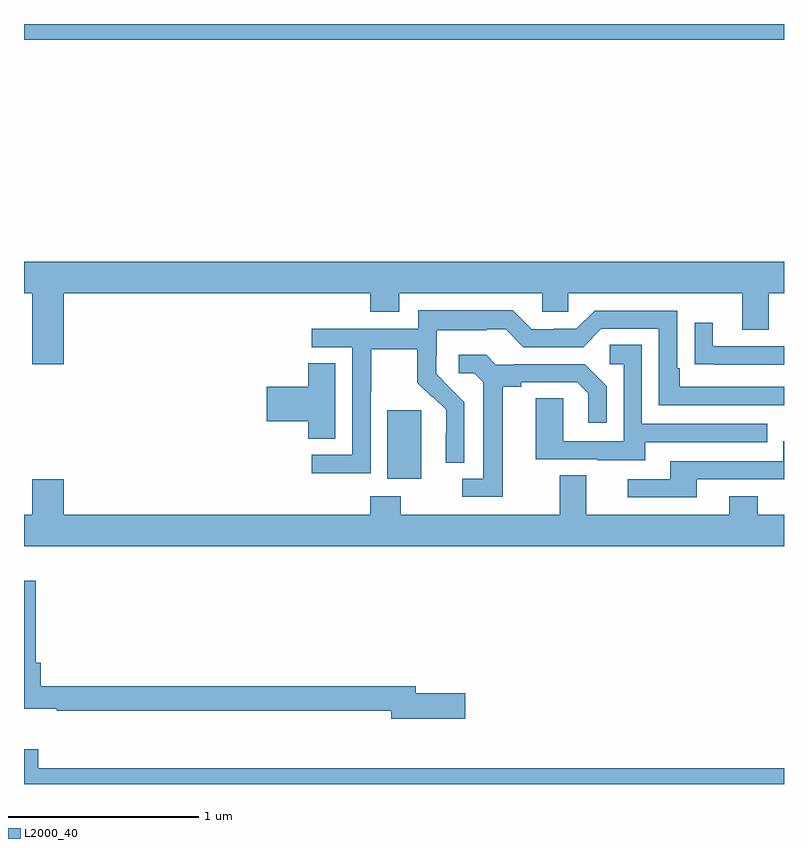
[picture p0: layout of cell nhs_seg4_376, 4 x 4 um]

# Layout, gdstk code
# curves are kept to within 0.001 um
import gdstk
lib = gdstk.Library(unit=1e-6, precision=1e-09)
def R(c, l, rs):  # rectangles x0, y0, x1, y1
    for r in rs: c.add(gdstk.rectangle(r[:2], r[2:], *l))
def P(c, l, *ps):  # polygons
    for p in ps: c.add(gdstk.Polygon(p, *l))
L2000_40 = (2000, 40)

nhs_seg4_376 = lib.new_cell('nhs_seg4_376')
R(nhs_seg4_376, L2000_40, [(130.913,798.506,131.092,798.867), (129,800.816,133,800.9)])
P(nhs_seg4_376, L2000_40, [(129.208,799.484),(130.823,799.484),(130.823,799.385),(130.975,799.385),(130.975,799.484),(131.727,799.484),(131.727,799.386),(131.865,799.386),(131.865,799.484),(132.779,799.484),(132.779,799.29),(132.919,799.29),(132.919,799.484),(133,799.484),(133,799.648),(129,799.648),(129,799.484),(129.044,799.484),(129.044,799.11),(129.208,799.11)],
  [(130.824,798.964),(130.827,798.964),(130.827,799.188),(131.071,799.188),(131.071,799.013),(131.148,798.936),(131.151,798.939),(131.222,798.869),(131.222,798.746),(131.22,798.746),(131.22,798.592),(131.316,798.592),(131.316,798.91),(131.17,799.058),(131.17,799.155),(131.172,799.155),(131.172,799.289),(131.435,799.289),(131.435,799.293),(131.535,799.293),(131.628,799.2),(131.943,799.2),(132.039,799.296),(132.342,799.296),(132.342,798.894),(133,798.894),(133,798.99),(132.451,798.99),(132.451,799.087),(132.438,799.087),(132.438,799.392),(132.003,799.392),(131.907,799.296),(131.789,799.296),(131.789,799.293),(131.673,799.293),(131.573,799.393),(131.076,799.393),(131.076,799.296),(130.515,799.296),(130.515,799.2),(130.728,799.2),(130.728,798.633),(130.515,798.633),(130.515,798.535),(130.824,798.535)],
  [(133,799.203),(132.625,799.203),(132.625,799.327),(132.529,799.327),(132.529,799.108),(132.631,799.108),(132.631,799.107),(133,799.107)],
  [(132.271,798.699),(132.911,798.699),(132.911,798.795),(132.252,798.795),(132.252,799.211),(132.084,799.211),(132.084,799.11),(132.156,799.11),(132.156,798.705),(131.838,798.705),(131.838,798.929),(131.693,798.929),(131.693,798.609),(132.017,798.609),(132.017,798.605),(132.271,798.605)],
  [(131.521,798.992),(131.617,798.992),(131.617,799.014),(131.912,799.014),(131.969,798.957),(131.969,798.801),(132.066,798.801),(132.066,798.994),(131.95,799.11),(131.578,799.11),(131.578,799.107),(131.484,799.107),(131.432,799.159),(131.289,799.159),(131.289,799.062),(131.37,799.062),(131.417,799.015),(131.417,798.507),(131.307,798.507),(131.307,798.411),(131.521,798.411)],
  [(130.639,799.115),(130.496,799.115),(130.496,798.992),(130.278,798.992),(130.278,798.809),(130.496,798.809),(130.496,798.718),(130.639,798.718)],
  [(132.541,798.504),(133,798.504),(133,798.703),(132.996,798.703),(132.996,798.6),(132.401,798.6),(132.401,798.504),(132.177,798.504),(132.177,798.408),(132.541,798.408)],
  [(133,798.316),(132.861,798.316),(132.861,798.415),(132.713,798.415),(132.713,798.316),(131.959,798.316),(131.959,798.524),(131.819,798.524),(131.819,798.316),(130.983,798.316),(130.983,798.415),(130.823,798.415),(130.823,798.316),(129.208,798.316),(129.208,798.505),(129.044,798.505),(129.044,798.316),(129,798.316),(129,798.152),(133,798.152)],
  [(131.323,797.378),(131.062,797.378),(131.062,797.414),(129.089,797.414),(129.089,797.539),(129.062,797.539),(129.062,797.971),(129,797.971),(129,797.297),(129.172,797.297),(129.172,797.286),(130.934,797.286),(130.934,797.243),(131.323,797.243)],
  [(133,796.984),(129.074,796.984),(129.074,797.083),(129,797.083),(129,796.9),(133,796.9)])

lib.write_gds('nhs_seg4_376.gds')
